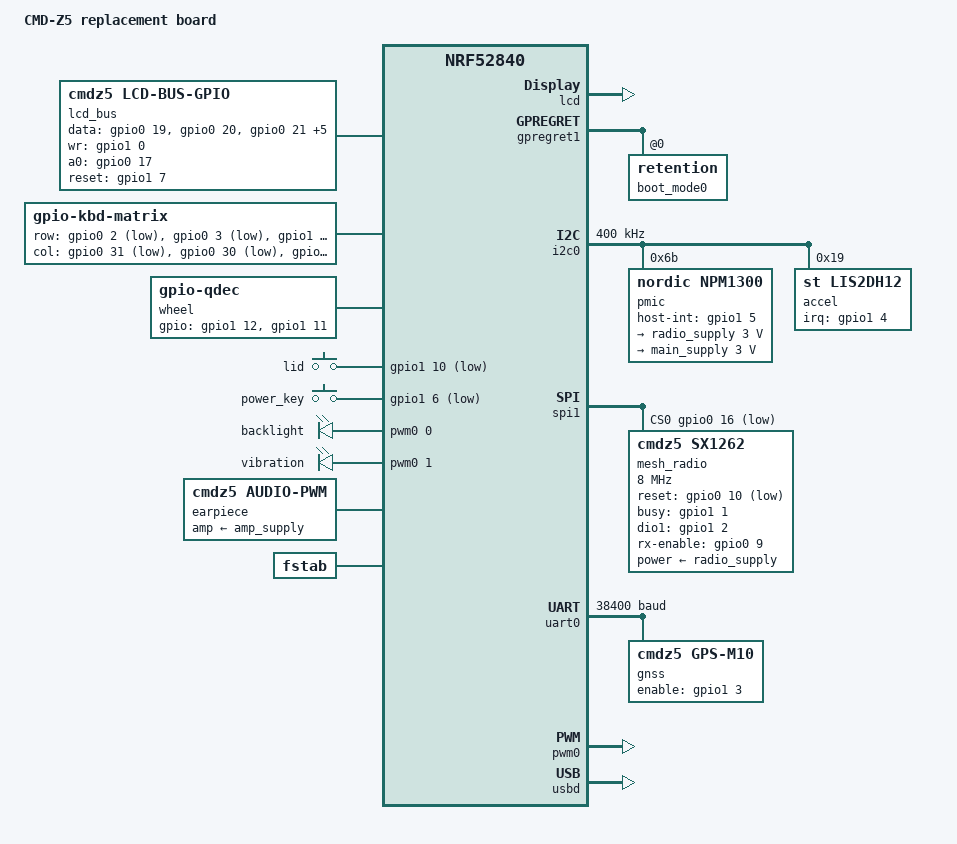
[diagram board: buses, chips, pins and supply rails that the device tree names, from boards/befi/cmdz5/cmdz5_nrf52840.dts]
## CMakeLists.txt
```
cmake_minimum_required(VERSION 3.20.0)

# The cmdz5 board definition lives in boards/befi/cmdz5.
list(APPEND BOARD_ROOT ${CMAKE_CURRENT_SOURCE_DIR})
# Language model image for the flash (merged.hex), see modules/lm_image.
list(APPEND ZEPHYR_EXTRA_MODULES ${CMAKE_CURRENT_SOURCE_DIR}/modules/lm_image)

find_package(Zephyr REQUIRED HINTS $ENV{ZEPHYR_BASE})
project(cmdz5)

zephyr_include_directories(include)

# Git hash and version (git describe) for the About screen, refreshed on every
# build: app_generated/git_version.h.
set(git_version_dir ${CMAKE_CURRENT_BINARY_DIR}/app_generated)
set(git_version_h ${git_version_dir}/git_version.h)
add_custom_target(git_version
  COMMAND ${CMAKE_COMMAND} -DSRC_DIR=${CMAKE_CURRENT_SOURCE_DIR} -DOUT=${git_version_h}
          -P ${CMAKE_CURRENT_SOURCE_DIR}/cmake/git_version.cmake
  BYPRODUCTS ${git_version_h}
  COMMENT "Reading the git version")
add_dependencies(app git_version)
target_include_directories(app PRIVATE ${git_version_dir})

add_subdirectory(lib/gfx)
add_subdirectory(lib/ui)
add_subdirectory(lib/textinput)
add_subdirectory(lib/meshtastic)
add_subdirectory(lib/meshcore)
add_subdirectory(lib/synth)
add_subdirectory(lib/qrcodegen)
add_subdirectory(drivers)
if(CONFIG_CMDZ5_EMUL)
  add_subdirectory(emul)
else()
  target_sources(app PRIVATE src/battery_npm13xx.c)
endif()

target_sources(app PRIVATE
  src/main.c
  src/battery.c
  src/clock.c
  src/config.c
  src/factory.c
  src/gauge.c
  src/gps.c
  src/hw.c
  src/i18n.c
  src/input.c
  src/power.c
  src/statusbar.c
  src/textin.c
  src/update.c
  src/mesh/mesh.c
  src/mesh/meshcore.c
  src/mesh/msglog.c
  src/mesh/msgstore.c
  src/screens/about.c
  src/screens/chat.c
  src/screens/compose.c
  src/screens/diag.c
  src/screens/game.c
  src/screens/witch.c
  src/screens/channels.c
  src/screens/gps.c
  src/screens/home.c
  src/screens/hwtest.c
  src/screens/noise.c
  src/screens/inbox.c
  src/screens/menu.c
  src/screens/nodes.c
  src/screens/poweroff.c
  src/screens/settings.c
)

# Language models for predictive text, built by tools/lmbuild. Boards with an
# lm partition get them through modules/lm_image (merged.hex); the emulator
# links them into the program.
dt_nodelabel(lm_node NODELABEL lm_partition)
if(NOT lm_node)
  set(lm_gen_dir ${ZEPHYR_BINARY_DIR}/include/generated/lm)
  foreach(lang de en)
    generate_inc_file_for_target(app ${CMAKE_CURRENT_SOURCE_DIR}/lm/${lang}.lm
      ${lm_gen_dir}/${lang}.lm.inc)
  endforeach()
endif()
```

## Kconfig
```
# CMD-Z5 firmware

mainmenu "CMD-Z5 firmware"

rsource "drivers/Kconfig"
rsource "emul/Kconfig"

module = CMDZ5_APP
module-str = CMD-Z5 application
source "subsys/logging/Kconfig.template.log_config"

source "Kconfig.zephyr"
```

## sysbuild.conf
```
# Board build (sysbuild): MCUboot plus the application. The emulator is built
# with --no-sysbuild and has no bootloader.
SB_CONFIG_BOOTLOADER_MCUBOOT=y
# One application slot: an update overwrites the application in place, so the
# language models keep their partition (see README, "Updates over USB").
SB_CONFIG_MCUBOOT_MODE_SINGLE_APP=y
SB_CONFIG_BOOT_SIGNATURE_TYPE_ECDSA_P256=y
# Partitions come from the board devicetree.
SB_CONFIG_PARTITION_MANAGER=n
```

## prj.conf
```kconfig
# Common configuration for the board and the emulator.

CONFIG_INPUT=y
# Mesh: device id for the node number, entropy for keys
CONFIG_HWINFO=y
CONFIG_ENTROPY_GENERATOR=y
CONFIG_LED=y
CONFIG_LOG=y

# Settings in the storage partition
CONFIG_FLASH=y
CONFIG_FLASH_MAP=y
CONFIG_NVS=y
CONFIG_SETTINGS=y
CONFIG_SETTINGS_NVS=y

# Messages in LittleFS (lfs partition)
CONFIG_FILE_SYSTEM=y
CONFIG_FILE_SYSTEM_LITTLEFS=y

# Restart (emulator power-on, fallback when the PMIC cannot enter ship mode)
CONFIG_REBOOT=y

CONFIG_MAIN_STACK_SIZE=4096
CONFIG_SYSTEM_WORKQUEUE_STACK_SIZE=2048
```

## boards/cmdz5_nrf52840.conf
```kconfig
# Board-only configuration.

CONFIG_I2C=y
CONFIG_PWM=y
# nPM1300 rails (display, earpiece amplifier, radio)
CONFIG_REGULATOR=y
# nPM1300 charger: enables charging at boot, measures the battery
CONFIG_SENSOR=y
# Floats in the battery readings and telemetry
CONFIG_FPU=y
# Accelerometer: used from the power phase on
CONFIG_LIS2DH=n
# Log and console over USB CDC ACM (zephyr,console), RTT stays as a second
# log backend for the J-Link
CONFIG_USB_DEVICE_STACK_NEXT=y
CONFIG_USBD_CDC_ACM_CLASS=y
CONFIG_CDC_ACM_SERIAL_INITIALIZE_AT_BOOT=y
CONFIG_CDC_ACM_SERIAL_MANUFACTURER_STRING="befi"
CONFIG_CDC_ACM_SERIAL_PRODUCT_STRING="CMD-Z5"
CONFIG_USBD_LOG_LEVEL_WRN=y
CONFIG_UDC_DRIVER_LOG_LEVEL_WRN=y
# Must stay off: the CDC ACM class carries the log itself
CONFIG_USBD_CDC_ACM_LOG_LEVEL_OFF=y
CONFIG_SERIAL=y
CONFIG_UART_LINE_CTRL=y
CONFIG_CONSOLE=y
CONFIG_UART_CONSOLE=y
CONFIG_RTT_CONSOLE=n
CONFIG_LOG_BACKEND_UART=y
CONFIG_LOG_BACKEND_RTT=y
# Boot mode for MCUboot (src/update.c): restart into USB serial recovery
CONFIG_RETAINED_MEM=y
CONFIG_RETENTION=y
CONFIG_RETENTION_BOOT_MODE=y
# GPS: u-blox M10 on UART0 (drivers/gnss/gps_m10.c), switched through device
# PM. The GNSS subsystem is marked experimental; that is known.
CONFIG_GNSS=y
CONFIG_WARN_EXPERIMENTAL=n
# Satellites in view with their signal strength (GSV), for the GPS screen.
CONFIG_GNSS_SATELLITES=y
```

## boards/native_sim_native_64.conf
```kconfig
# Emulator-only configuration.

# Power-on after "switch off" restarts the executable.
CONFIG_NATIVE_SIM_REBOOT=y

# GPS: Zephyr's GNSS emulator, switched on and off through device PM. The
# GNSS subsystem is marked experimental; that is known, no notice needed.
CONFIG_GNSS=y
CONFIG_WARN_EXPERIMENTAL=n
CONFIG_GNSS_EMUL_MANUAL_UPDATE=y
CONFIG_PM_DEVICE=y
```

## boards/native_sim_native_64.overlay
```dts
/*
 * Emulator: the same node labels as the board (lcd, backlight, vibration,
 * speaker, earpiece), backed by the SDL front panel in emul/.
 */

/* Zephyr's own SDL display and touch input are not used. */
&sdl_dc {
	status = "disabled";
};

&input_sdl_touch {
	status = "disabled";
};

/* The same lfs partition size as on the board, in place of an unused one. */
/delete-node/ &scratch_partition;

&flash0 {
	partitions {
		lfs_partition: partition@de000 {
			label = "lfs";
			reg = <0x000de000 0x00018000>;
		};
	};
};

/ {
	frontpanel: frontpanel {
		compatible = "cmdz5,frontpanel";
		scale = <5>;
	};

	lcd_bus: lcd-bus {
		compatible = "cmdz5,lcd-bus-emul";

		lcd: lcd {
			compatible = "sony,cmdz5-lcd";
		};
	};

	emul-outputs {
		compatible = "cmdz5,led-emul";

		backlight: backlight {
			role = "backlight";
		};

		vibration: vibration {
			role = "vibration";
		};
	};

	speaker: speaker {
		compatible = "cmdz5,audio-emul";
		sink = "speaker";
	};

	earpiece: earpiece {
		compatible = "cmdz5,audio-emul";
		sink = "earpiece";
	};

	mesh_radio: mesh-radio {
		compatible = "cmdz5,radio-emul";
	};

	/* Zephyr's GNSS emulator, fed by emul/gps_sim.c (--gps, --gps-move). */
	gnss: gnss {
		compatible = "zephyr,gnss-emul";
	};

	/* Messages (and later more): LittleFS in the lfs partition. */
	fstab {
		compatible = "zephyr,fstab";

		lfs: lfs {
			compatible = "zephyr,fstab,littlefs";
			mount-point = "/lfs";
			partition = <&lfs_partition>;
			automount;
			read-size = <16>;
			prog-size = <16>;
			cache-size = <64>;
			lookahead-size = <32>;
			block-cycles = <512>;
		};
	};
};
```

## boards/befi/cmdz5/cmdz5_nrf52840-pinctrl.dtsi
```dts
/*
 * Pin assignment, see the GPIO table in ../../../../board/README.md.
 */

&pinctrl {
	i2c0_default: i2c0_default {
		group1 {
			psels = <NRF_PSEL(TWIM_SDA, 1, 8)>,
				<NRF_PSEL(TWIM_SCL, 1, 9)>;
		};
	};

	i2c0_sleep: i2c0_sleep {
		group1 {
			psels = <NRF_PSEL(TWIM_SDA, 1, 8)>,
				<NRF_PSEL(TWIM_SCL, 1, 9)>;
			low-power-enable;
		};
	};

	spi1_default: spi1_default {
		group1 {
			psels = <NRF_PSEL(SPIM_SCK, 0, 13)>,
				<NRF_PSEL(SPIM_MOSI, 0, 14)>,
				<NRF_PSEL(SPIM_MISO, 0, 15)>;
		};
	};

	spi1_sleep: spi1_sleep {
		group1 {
			psels = <NRF_PSEL(SPIM_SCK, 0, 13)>,
				<NRF_PSEL(SPIM_MOSI, 0, 14)>,
				<NRF_PSEL(SPIM_MISO, 0, 15)>;
			low-power-enable;
		};
	};

	uart0_default: uart0_default {
		group1 {
			psels = <NRF_PSEL(UART_TX, 0, 12)>;
		};
		group2 {
			psels = <NRF_PSEL(UART_RX, 0, 11)>;
		};
	};

	uart0_sleep: uart0_sleep {
		group1 {
			psels = <NRF_PSEL(UART_TX, 0, 12)>,
				<NRF_PSEL(UART_RX, 0, 11)>;
			low-power-enable;
		};
	};

	/* Backlight LEDs (channel 0) and vibration motor (channel 1). */
	pwm0_default: pwm0_default {
		group1 {
			psels = <NRF_PSEL(PWM_OUT0, 0, 8)>,
				<NRF_PSEL(PWM_OUT1, 0, 7)>;
		};
	};

	pwm0_sleep: pwm0_sleep {
		group1 {
			psels = <NRF_PSEL(PWM_OUT0, 0, 8)>,
				<NRF_PSEL(PWM_OUT1, 0, 7)>;
			low-power-enable;
		};
	};

	/* Loudspeaker. */
	pwm1_default: pwm1_default {
		group1 {
			psels = <NRF_PSEL(PWM_OUT0, 0, 27)>;
		};
	};

	pwm1_sleep: pwm1_sleep {
		group1 {
			psels = <NRF_PSEL(PWM_OUT0, 0, 27)>;
			low-power-enable;
		};
	};

	/* Earpiece (RC filter into the PAM8302). */
	pwm2_default: pwm2_default {
		group1 {
			psels = <NRF_PSEL(PWM_OUT0, 0, 6)>;
		};
	};

	pwm2_sleep: pwm2_sleep {
		group1 {
			psels = <NRF_PSEL(PWM_OUT0, 0, 6)>;
			low-power-enable;
		};
	};
};
```

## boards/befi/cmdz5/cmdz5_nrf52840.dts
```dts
/*
 * CMD-Z5 replacement board: nRF52840, Wio-SX1262, nPM1300, LIS2DH12,
 * TBS M10N GPS, original Sony CMD-Z5 display, keypad, wheel, speakers.
 * Hardware description: ../../../../board/README.md
 */

/dts-v1/;
#include <nordic/nrf52840_qiaa.dtsi>
#include <zephyr/dt-bindings/input/input-event-codes.h>
#include <zephyr/dt-bindings/input/keymap.h>
#include <zephyr/dt-bindings/lora/sx126x.h>
#include <zephyr/dt-bindings/regulator/npm13xx.h>
#include <dt-bindings/cmdz5/keys.h>
#include "cmdz5_nrf52840-pinctrl.dtsi"

/ {
	model = "CMD-Z5 replacement board";
	compatible = "befi,cmdz5";

	chosen {
		zephyr,sram = &sram0;
		zephyr,flash = &flash0;
		zephyr,code-partition = &slot0_partition;
		zephyr,console = &cdc_acm_uart0;
		zephyr,boot-mode = &boot_mode0;
	};

	aliases {
		/* MCUboot: power key held at switch-on enters USB serial recovery. */
		mcuboot-button0 = &power_key;
	};

	/*
	 * Display bus: D0..D7 on consecutive pins P0.19..P0.26 for single
	 * masked port writes. /CS, CS and pin 9 are tied on the board.
	 */
	lcd_bus: lcd-bus {
		compatible = "cmdz5,lcd-bus-gpio";
		data-gpios = <&gpio0 19 0>, <&gpio0 20 0>, <&gpio0 21 0>, <&gpio0 22 0>,
			     <&gpio0 23 0>, <&gpio0 24 0>, <&gpio0 25 0>, <&gpio0 26 0>;
		wr-gpios = <&gpio1 0 0>;
		a0-gpios = <&gpio0 17 0>;
		reset-gpios = <&gpio1 7 0>;

		lcd: lcd {
			compatible = "sony,cmdz5-lcd";
			power-supply = <&lcd_supply>;
		};
	};

	/* 4 x 5 matrix; columns driven low one at a time, rows read with pull-ups. */
	kbd: kbd-matrix {
		compatible = "gpio-kbd-matrix";
		row-gpios = <&gpio0 2 (GPIO_PULL_UP | GPIO_ACTIVE_LOW)>,
			    <&gpio0 3 (GPIO_PULL_UP | GPIO_ACTIVE_LOW)>,
			    <&gpio1 15 (GPIO_PULL_UP | GPIO_ACTIVE_LOW)>,
			    <&gpio1 14 (GPIO_PULL_UP | GPIO_ACTIVE_LOW)>,
			    <&gpio1 13 (GPIO_PULL_UP | GPIO_ACTIVE_LOW)>;
		col-gpios = <&gpio0 31 GPIO_ACTIVE_LOW>,
			    <&gpio0 30 GPIO_ACTIVE_LOW>,
			    <&gpio0 29 GPIO_ACTIVE_LOW>,
			    <&gpio0 28 GPIO_ACTIVE_LOW>;

		keymap {
			compatible = "input-keymap";
			keymap = <MATRIX_KEY(0, 0, INPUT_KEY_1)
				  MATRIX_KEY(0, 1, INPUT_KEY_2)
				  MATRIX_KEY(0, 2, INPUT_KEY_3)
				  MATRIX_KEY(0, 3, CMDZ5_KEY_CALL)
				  MATRIX_KEY(1, 0, INPUT_KEY_4)
				  MATRIX_KEY(1, 1, INPUT_KEY_5)
				  MATRIX_KEY(1, 2, INPUT_KEY_6)
				  MATRIX_KEY(1, 3, CMDZ5_KEY_MEMO)
				  MATRIX_KEY(2, 0, INPUT_KEY_7)
				  MATRIX_KEY(2, 1, INPUT_KEY_8)
				  MATRIX_KEY(2, 2, INPUT_KEY_9)
				  MATRIX_KEY(2, 3, INPUT_KEY_BACKSPACE)
				  MATRIX_KEY(3, 0, CMDZ5_KEY_STAR)
				  MATRIX_KEY(3, 1, INPUT_KEY_0)
				  MATRIX_KEY(3, 2, CMDZ5_KEY_POUND)
				  MATRIX_KEY(4, 0, INPUT_KEY_PAGEDOWN)
				  MATRIX_KEY(4, 1, INPUT_KEY_PAGEUP)
				  MATRIX_KEY(4, 2, INPUT_KEY_ENTER)>;
			row-size = <5>;
			col-size = <4>;
		};
	};

	/* Rotary wheel; the direction may need swapping once tested. */
	wheel: wheel {
		compatible = "gpio-qdec";
		gpios = <&gpio1 12 (GPIO_PULL_UP | GPIO_ACTIVE_HIGH)>,
			<&gpio1 11 (GPIO_PULL_UP | GPIO_ACTIVE_HIGH)>;
		steps-per-period = <4>;
		zephyr,axis = <INPUT_REL_WHEEL>;
		sample-time-us = <2000>;
		idle-timeout-ms = <200>;
	};

	buttons {
		compatible = "gpio-keys";

		/* 4.7-10 MOhm external pull-up: no internal pull-up (it would draw ~230 uA). */
		lid {
			gpios = <&gpio1 10 GPIO_ACTIVE_LOW>;
			zephyr,code = <CMDZ5_KEY_LID>;
		};

		/* Shared with nPM1300 SHPHLD through a BAT54C. */
		power_key: power {
			gpios = <&gpio1 6 (GPIO_PULL_UP | GPIO_ACTIVE_LOW)>;
			zephyr,code = <INPUT_KEY_POWER>;
		};
	};

	pwmleds {
		compatible = "pwm-leds";

		/* Board LEDs and keyboard flex LEDs on one low-side switch. */
		backlight: backlight {
			pwms = <&pwm0 0 PWM_USEC(50) PWM_POLARITY_NORMAL>;
		};

		vibration: vibration {
			pwms = <&pwm0 1 PWM_USEC(50) PWM_POLARITY_NORMAL>;
		};
	};

	/* PCM through PWM1/PWM2 with EasyDMA (drivers/audio/audio_pwm.c). */
	speaker: speaker {
		compatible = "cmdz5,audio-pwm";
		pwm-peripheral = <&pwm1>;
		dc-coupled;
	};

	earpiece: earpiece {
		compatible = "cmdz5,audio-pwm";
		pwm-peripheral = <&pwm2>;
		amp-supply = <&amp_supply>;
	};

	/* Messages (and later more): LittleFS in the lfs partition. */
	fstab {
		compatible = "zephyr,fstab";

		lfs: lfs {
			compatible = "zephyr,fstab,littlefs";
			mount-point = "/lfs";
			partition = <&lfs_partition>;
			automount;
			read-size = <16>;
			prog-size = <16>;
			cache-size = <64>;
			lookahead-size = <32>;
			block-cycles = <512>;
		};
	};
};

/*
 * REG1 in LDO mode: with its DC/DC (DCC -> 10 uH -> 15 nH -> DEC4) the
 * radio's noise floor was 4 dB higher (Hardware test > Radio noise, which
 * can still switch it on). On the first board the chip also locked up a few
 * milliseconds after switching to DC/DC until L3 was replaced.
 */
&reg1 {
	regulator-initial-mode = <NRF5X_REG_MODE_LDO>;
};

&uicr {
	/* P0.09/P0.10 drive the SX1262 RF switch and reset. */
	nfct-pins-as-gpios;
	gpio-as-nreset;
};

/*
 * Boot mode in GPREGRET1, kept across a reset: the application sets it to
 * ask MCUboot to stay in USB serial recovery (src/update.c).
 */
&gpregret1 {
	status = "okay";

	boot_mode0: boot_mode@0 {
		compatible = "zephyr,retention";
		status = "okay";
		reg = <0x0 0x1>;
	};
};

&gpiote {
	status = "okay";
};

/*
 * GPIOTE has only 8 channels. Keypad rows, lid and power key use the port
 * SENSE mechanism instead; wheel, nPM1300 and LIS2DH12 interrupts and
 * SX1262 DIO1 keep a GPIOTE channel each.
 */
&gpio0 {
	status = "okay";
	sense-edge-mask = <(BIT(2) | BIT(3))>;		/* keypad rows 0, 1 */
};

&gpio1 {
	status = "okay";
	sense-edge-mask = <(BIT(6) | BIT(10) |		/* power key, lid */
			    BIT(13) | BIT(14) | BIT(15))>;	/* keypad rows 4, 3, 2 */
};

&i2c0 {
	compatible = "nordic,nrf-twim";
	status = "okay";
	clock-frequency = <I2C_BITRATE_FAST>;
	pinctrl-0 = <&i2c0_default>;
	pinctrl-1 = <&i2c0_sleep>;
	pinctrl-names = "default", "sleep";

	pmic: pmic@6b {
		compatible = "nordic,npm1300";
		reg = <0x6b>;
		host-int-gpios = <&gpio1 5 0>;
		pmic-int-pin = <0>;
		/* Power key on SHPHLD: hold about 1 s to switch on from ship mode. */
		ship-to-active-time-ms = <1008>;

		/* GPIO0 = interrupt to the nRF, GPIO1 = microphone supply. */
		pmic_gpio: gpio-controller {
			compatible = "nordic,npm1300-gpio";
			gpio-controller;
			#gpio-cells = <2>;
			ngpios = <5>;
		};

		regulators {
			compatible = "nordic,npm1300-regulator";

			/* Wio-SX1262, off at boot (VSET1 grounded). */
			radio_supply: BUCK1 {
				regulator-min-microvolt = <3000000>;
				regulator-max-microvolt = <3000000>;
			};

			/* Main 3.0 V rail (nRF52840, LIS2DH12), set by VSET2. */
			main_supply: BUCK2 {
				regulator-min-microvolt = <3000000>;
				regulator-max-microvolt = <3000000>;
				regulator-boot-on;
				regulator-always-on;
			};

			/* LSOUT1: display supply. */
			lcd_supply: LDO1 {
				regulator-initial-mode = <NPM13XX_LDSW_MODE_LDSW>;
			};

			/* LSOUT2: earpiece amplifier supply. */
			amp_supply: LDO2 {
				regulator-initial-mode = <NPM13XX_LDSW_MODE_LDSW>;
			};
		};

		/* The battery has no thermistor contact; NTC is tied to GND. */
		charger: charger {
			compatible = "nordic,npm1300-charger";
			term-microvolt = <4200000>;
			/* 603450 LiPo, 1250 mAh, 4.2 V; ~0.33 C (src/gauge.h). */
			current-microamp = <400000>;
			dischg-limit-microamp = <1000000>;
			vbus-limit-microamp = <500000>;
			thermistor-ohms = <0>;
			thermistor-beta = <3380>;
			charging-enable;
		};
	};

	accel: accel@19 {
		compatible = "st,lis2dh12", "st,lis2dh";
		reg = <0x19>;
		irq-gpios = <&gpio1 4 GPIO_ACTIVE_HIGH>;
	};
};

&spi1 {
	compatible = "nordic,nrf-spim";
	status = "okay";
	cs-gpios = <&gpio0 16 GPIO_ACTIVE_LOW>;
	pinctrl-0 = <&spi1_default>;
	pinctrl-1 = <&spi1_sleep>;
	pinctrl-names = "default", "sleep";

	/*
	 * Wio-SX1262 as the mesh radio (drivers/radio/sx1262_mesh.c; Zephyr's
	 * semtech,sx1262 driver cannot set the Meshtastic sync word). Powered
	 * from BUCK1, which the driver switches on.
	 */
	mesh_radio: lora0: lora@0 {
		compatible = "cmdz5,sx1262";
		reg = <0>;
		power-supply = <&radio_supply>;
		spi-max-frequency = <8000000>;
		reset-gpios = <&gpio0 10 GPIO_ACTIVE_LOW>;
		busy-gpios = <&gpio1 1 GPIO_ACTIVE_HIGH>;
		dio1-gpios = <&gpio1 2 GPIO_ACTIVE_HIGH>;
		rx-enable-gpios = <&gpio0 9 GPIO_ACTIVE_HIGH>;
		dio2-tx-enable;
		dio3-tcxo-voltage = <SX126X_DIO3_TCXO_1V8>;
		tcxo-power-startup-delay-ms = <5>;
	};
};

/*
 * GPS UART: TBS M10N (u-blox M10, factory settings: NMEA at 38400 baud),
 * powered through the 5 V boost on P1.03. The driver (drivers/gnss/gps_m10.c)
 * switches the boost and the UART together; while the receiver is off the
 * UART pins are in their sleep state, so an idle-high TX line cannot
 * back-power it.
 */
&uart0 {
	compatible = "nordic,nrf-uarte";
	status = "okay";
	current-speed = <38400>;
	pinctrl-0 = <&uart0_default>;
	pinctrl-1 = <&uart0_sleep>;
	pinctrl-names = "default", "sleep";

	gnss: gnss {
		compatible = "cmdz5,gps-m10";
		enable-gpios = <&gpio1 3 GPIO_ACTIVE_HIGH>;
	};
};

&pwm0 {
	status = "okay";
	pinctrl-0 = <&pwm0_default>;
	pinctrl-1 = <&pwm0_sleep>;
	pinctrl-names = "default", "sleep";
};

/* PWM1 and PWM2 belong to the audio driver, not to Zephyr's PWM driver. */
&pwm1 {
	status = "disabled";
	pinctrl-0 = <&pwm1_default>;
	pinctrl-1 = <&pwm1_sleep>;
	pinctrl-names = "default", "sleep";
};

&pwm2 {
	status = "disabled";
	pinctrl-0 = <&pwm2_default>;
	pinctrl-1 = <&pwm2_sleep>;
	pinctrl-names = "default", "sleep";
};

zephyr_udc0: &usbd {
	status = "okay";

	/*
	 * Log and console over USB (/dev/ttyACM0). The TX FIFO keeps the boot
	 * messages until the host opens the port; when it is full, newer
	 * output is dropped.
	 */
	cdc_acm_uart0: cdc_acm_uart0 {
		compatible = "zephyr,cdc-acm-uart";
		tx-fifo-size = <8192>;
	};
};

/*
 * Flash layout (1 MB). MCUboot with a single application slot: an update
 * over USB overwrites the application in place (see README, "Updates over
 * USB"). The language models, settings and LittleFS are not touched.
 */
&flash0 {
	partitions {
		ranges;
		#address-cells = <1>;
		#size-cells = <1>;

		boot_partition: partition@0 {
			compatible = "zephyr,mapped-partition";
			label = "mcuboot";
			reg = <0x00000000 0x00010000>;
		};

		slot0_partition: partition@10000 {
			compatible = "zephyr,mapped-partition";
			label = "image-0";
			reg = <0x00010000 0x00078000>;
		};

		/* Predictive text language models (read-only, updated separately). */
		lm_partition: partition@88000 {
			compatible = "zephyr,mapped-partition";
			label = "lm";
			reg = <0x00088000 0x00058000>;
		};

		/* Settings. */
		storage_partition: partition@e0000 {
			compatible = "zephyr,mapped-partition";
			label = "storage";
			reg = <0x000e0000 0x00008000>;
		};

		/* LittleFS: messages, node database, user dictionary. */
		lfs_partition: partition@e8000 {
			compatible = "zephyr,mapped-partition";
			label = "lfs";
			reg = <0x000e8000 0x00018000>;
		};
	};
};
```

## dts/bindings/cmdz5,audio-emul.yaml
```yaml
description: Emulated audio output, played through the PC's sound card.

compatible: "cmdz5,audio-emul"

include: base.yaml

properties:
  sink:
    type: string
    required: true
    enum:
      - "speaker"
      - "earpiece"
```

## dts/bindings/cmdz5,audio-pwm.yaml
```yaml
description: |
  PCM output on an nRF PWM instance used as an 8-bit DAC with EasyDMA
  (loudspeaker or earpiece). The driver uses the PWM peripheral directly, so
  its node must be disabled for Zephyr's PWM driver; its pinctrl states are
  used for the output pin.

compatible: "cmdz5,audio-pwm"

include: base.yaml

properties:
  pwm-peripheral:
    type: phandle
    required: true
    description: PWM instance (status "disabled", with pinctrl default/sleep states).

  dc-coupled:
    type: boolean
    description: |
      The load sees the duty cycle directly (loudspeaker on a low-side switch).
      The offset then follows the signal peak, so silence draws no current.
      Without it, the output idles at mid-level (AC-coupled amplifier input).

  amp-supply:
    type: phandle
    description: Regulator for an amplifier, switched on only while playing.
```

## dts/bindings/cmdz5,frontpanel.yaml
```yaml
description: |
  SDL2 front panel of the native_sim emulator. Reports the phone keys, the
  rotary wheel and the lid switch as input events.

compatible: "cmdz5,frontpanel"

include: base.yaml

properties:
  scale:
    type: int
    default: 5
    description: Display scaling factor in the emulator window.
```

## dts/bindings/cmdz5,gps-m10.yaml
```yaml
description: |
  u-blox M10 GPS receiver (TBS M10N) on a UART with a switched supply.
  Reads NMEA (GGA, RMC, GSV) at the receiver's factory settings. Device
  power management switches the supply and the UART together, so the UART
  lines never drive the unpowered receiver.

compatible: "cmdz5,gps-m10"

include: uart-device.yaml

properties:
  enable-gpios:
    type: phandle-array
    required: true
    description: Supply enable (TPS610997 5 V boost EN).

  startup-delay-ms:
    type: int
    default: 5
    description: Time from supply on until the UART is opened.
```

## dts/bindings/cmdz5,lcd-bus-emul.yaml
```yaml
description: |
  Emulated display bus for native_sim. Feeds the written bytes into a model of
  the display controller and shows the result on the emulator front panel.

compatible: "cmdz5,lcd-bus-emul"

include: base.yaml
```

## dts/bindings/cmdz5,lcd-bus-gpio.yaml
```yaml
description: |
  8080-style write-only parallel display bus, bit-banged on GPIOs.
  Levels are driven raw; the GPIO flags are ignored.

compatible: "cmdz5,lcd-bus-gpio"

include: base.yaml

properties:
  data-gpios:
    type: phandle-array
    required: true
    description: D0..D7, in this order. Consecutive pins on one port are fastest.

  wr-gpios:
    type: phandle-array
    required: true
    description: /WR strobe (active low, data latched on the rising edge).

  a0-gpios:
    type: phandle-array
    required: true
    description: A0 register select (low = index, high = data).

  reset-gpios:
    type: phandle-array
    required: true
    description: /RESET (active low).
```

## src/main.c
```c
/*
 * CMD-Z5 firmware: UI thread and event loop.
 *
 * All UI state is owned by this thread. Other threads (input, later the radio
 * services) pass events through app_post().
 */

#include <stdio.h>

#include <zephyr/kernel.h>
#include <zephyr/logging/log.h>
#include <zephyr/logging/log_ctrl.h>
#include <zephyr/sys/reboot.h>

#include "app.h"
#include "battery.h"
#include "clock.h"
#include "config.h"
#include "gps.h"
#include "hw.h"
#include "i18n.h"
#include "mesh/mesh.h"
#include "mesh/msgstore.h"
#include "meshtastic/packet.h"
#include "textin.h"
#include "power.h"
#include "screens/screens.h"
#include "update.h"

LOG_MODULE_REGISTER(app, CONFIG_CMDZ5_APP_LOG_LEVEL);

#define POLL_MS 200

static int poll_ms = POLL_MS;

K_MSGQ_DEFINE(ui_queue, sizeof(struct ui_event), 32, 4);

static struct gfx gfx;

/* Startup: the first 7 notes of the Super Mario Bros. theme (E E - E - C E - G - - - G). */
#define SMB_16TH 110 /* ms */
static const struct hw_note startup_tune[] = {
	{1319, SMB_16TH},     {1319, SMB_16TH}, {0, SMB_16TH},     {1319, SMB_16TH},
	{0, SMB_16TH},        {1047, SMB_16TH}, {1319, 2 * SMB_16TH}, {1568, 2 * SMB_16TH},
	{0, 2 * SMB_16TH},    {784, 2 * SMB_16TH},
};

void app_post(const struct ui_event *ev)
{
	if (k_msgq_put(&ui_queue, ev, K_NO_WAIT) != 0) {
		LOG_WRN("UI queue full, event dropped");
	}
}

void app_set_frame_ms(int ms)
{
	poll_ms = ms > 0 ? ms : POLL_MS;
}

static void tick(struct k_timer *timer)
{
	struct ui_event ev = {.type = UI_EV_TICK};

	ARG_UNUSED(timer);
	app_post(&ev);
}

K_TIMER_DEFINE(tick_timer, tick, NULL);

/* Switching off: C major arpeggio from top to bottom (C6 G5 E5 C5). */
static const struct hw_note goodbye_tune[] = {
	{1047, 110}, {784, 110}, {659, 110}, {523, 300},
};
#define GOODBYE_MS (110 + 110 + 110 + 300)

static void render(void)
{
	if (power_display_on() && ui_needs_render()) {
		ui_render(&gfx);
		hw_display_flush(&gfx);
	}
}

/* Empty battery: the message stays this long, to be read. */
#define EMPTY_MS 3000

static FUNC_NORETURN void switch_off(bool empty)
{
	LOG_INF("switching off%s", empty ? ": battery empty" : "");
	k_timer_stop(&tick_timer);
	if (empty) {
		power_user_activity(false);
		poweroff_empty();
	} else {
		poweroff_goodbye();
	}
	render();
	hw_melody(HW_SPEAKER, goodbye_tune, ARRAY_SIZE(goodbye_tune), app_config.volume);
	battery_save();
	/* Let the arpeggio finish (and its last note fade out). */
	k_msleep(empty ? EMPTY_MS : GOODBYE_MS + 200);
	hw_power_off();
}

/* Key whose press only woke the display; its long/release events are dropped too. */
static enum ui_key swallowed = UI_KEY_NONE;
/* The current power key press only woke the display. */
static bool power_woke;

/* Key click and wheel tick (Settings -> Sound -> Key clicks). */
static void click(const struct ui_event *ev)
{
	if (!app_config.key_click) {
		return;
	}
	if (ev->type == UI_EV_KEY_PRESS) {
		hw_tone(HW_SPEAKER, 2500, 6, app_config.volume / 4);
	} else if (ev->type == UI_EV_WHEEL) {
		/* Subtler than a key: shorter, higher and quieter. */
		hw_tone(HW_SPEAKER, 4000, 3, app_config.volume / 5);
	}
}

/* Keys under the lid, as opposed to the side controls (wheel, power key). */
static bool is_keypad(const struct ui_event *ev)
{
	return ev->type != UI_EV_WHEEL && ev->key != UI_KEY_SELECT && ev->key != UI_KEY_BACK &&
	       ev->key != UI_KEY_DOWN && ev->key != UI_KEY_POWER;
}

static bool is_user_input(const struct ui_event *ev)
{
	return ev->type == UI_EV_KEY_PRESS || ev->type == UI_EV_KEY_LONG ||
	       ev->type == UI_EV_KEY_RELEASE || ev->type == UI_EV_WHEEL;
}

#define TOAST_MS 8000

static int64_t toast_until;

static void open_conversation(void *arg)
{
	chat_open((uint32_t)(uintptr_t)arg);
}

/* New message: a pop-up, unless the home screen or that chat shows it anyway. */
static void show_message_toast(void)
{
	static struct msg m;
	char who[24], title[40];
	const char *text;
	bool have = false;

	msgstore_lock();
	if (msgstore_newest_unread()) {
		m = *msgstore_newest_unread();
		have = true;
	}
	msgstore_unlock();
	if (!have || ui_top() == &home_screen || chat_showing(m.conv)) {
		return;
	}
	text = mesh_msg_text(&m, who, sizeof(who));
	if (conv_channel(m.conv) >= 0) {
		char chan[16];

		mesh_conv_name(m.conv, chan, sizeof(chan));
		snprintf(title, sizeof(title), "%s %s", who, chan);
	} else {
		snprintf(title, sizeof(title), "%s", who);
	}
	ui_toast(title, text, open_conversation, (void *)(uintptr_t)m.conv);
	toast_until = k_uptime_get() + TOAST_MS;
}

/* The new message is in a silenced conversation. */
static bool newest_muted(void)
{
	uint32_t conv = 0;

	msgstore_lock();
	if (msgstore_newest_unread()) {
		conv = msgstore_newest_unread()->conv;
	}
	msgstore_unlock();
	return conv && mesh_muted(conv);
}

static const struct hw_note message_tune[] = {
	{1568, 80}, {2093, 120},
};

/* A sent message failed: two low, falling tones. */
static const struct hw_note failed_tune[] = {
	{392, 150}, {0, 60}, {294, 350},
};

static void handle(const struct ui_event *ev)
{
	if (ev->type == APP_EV_LID) {
		power_lid(ev->value);
		return;
	}
	if (ev->type == APP_EV_MESH) {
		if (ev->value == MESH_EV_MESSAGE && newest_muted()) {
			/* Silenced conversation: only the unread count. */
		} else if (ev->value == MESH_EV_MESSAGE) {
			power_user_activity(false);
			hw_melody(HW_SPEAKER, message_tune, ARRAY_SIZE(message_tune),
				  app_config.volume);
			if (app_config.vibrate) {
				hw_vibrate(300);
			}
			show_message_toast();
		} else if (ev->value == MESH_EV_FAILED) {
			hw_melody(HW_SPEAKER, failed_tune, ARRAY_SIZE(failed_tune),
				  app_config.volume);
			if (app_config.vibrate) {
				hw_vibrate(300);
			}
		}
		ui_invalidate();
		return;
	}
	if (ev->type == UI_EV_TICK) {
		struct battery_status b;

		battery_get(&b);
		if (b.empty) {
			switch_off(true);
		}
		if (power_display_on()) {
			ui_dispatch(ev);
		}
		return;
	}
	if (!is_user_input(ev)) {
		return;
	}

	if (ev->type != UI_EV_KEY_PRESS && ev->type != UI_EV_WHEEL && ev->key == swallowed) {
		if (ev->type == UI_EV_KEY_RELEASE) {
			swallowed = UI_KEY_NONE;
		}
		return;
	}

	if (ev->key == UI_KEY_POWER) {
		if (ev->type == UI_EV_KEY_PRESS) {
			/* Like any key: a press that only wakes the display does nothing else. */
			power_woke = power_user_activity(false);
			if (!power_woke) {
				click(ev);
			}
		} else if (ui_ev_short(ev, UI_KEY_POWER)) {
			if (!power_woke) {
				ui_home();
			}
		} else if (ui_ev_long(ev, UI_KEY_POWER)) {
			power_user_activity(false);
			poweroff_show();
		} else if (ev->type == UI_EV_KEY_RELEASE) {
			/* Released after a long press. */
			switch_off(false);
		}
		return;
	}

	if (power_user_activity(is_keypad(ev))) {
		if (ev->type == UI_EV_KEY_PRESS) {
			swallowed = ev->key;
		}
		return;
	}

	click(ev);
	ui_dispatch(ev);
}

/*
 * Switched off while on USB power: the PMIC cannot stay in ship mode, so the
 * device only looks off. Display, mesh and GPS stay off, the battery charges.
 * Holding the power key switches on (a restart); removing USB enters ship
 * mode.
 */
static FUNC_NORETURN void stay_off(void)
{
	struct ui_event ev;

	LOG_INF("off (USB power): hold the power key to switch on");
	hw_display_power(false);
	hw_backlight(0);
	for (;;) {
		if (k_msgq_get(&ui_queue, &ev, K_MSEC(500)) == 0 && ui_ev_long(&ev, UI_KEY_POWER)) {
			LOG_INF("switching on");
			log_flush();
			sys_reboot(SYS_REBOOT_COLD);
		}
		if (!hw_usb_power()) {
			hw_power_off();
		}
	}
}

int main(void)
{
	struct ui_event ev;

	LOG_INF("CMD-Z5 firmware %s", APP_VERSION);

	if (hw_init() != 0) {
		LOG_ERR("hardware init failed");
		return 0;
	}
	if (hw_boot_off()) {
		stay_off();
	}
	config_init();
	hw_display_contrast(app_config.contrast);
	i18n_set(app_config.language);
	if (textin_init() != 0) {
		LOG_ERR("predictive text not available");
	}
	mesh_init();
	gps_init();
	update_init();
	battery_init();
	clock_init();
	gfx_init(&gfx);
	ui_init(statusbar_draw);
	ui_set_translator(tr);
	ui_set_root(&home_screen);
	power_init();

	hw_melody(HW_SPEAKER, startup_tune, ARRAY_SIZE(startup_tune), app_config.volume);
	k_timer_start(&tick_timer, K_SECONDS(1), K_SECONDS(1));

	for (;;) {
		if (k_msgq_get(&ui_queue, &ev, K_MSEC(poll_ms)) == 0) {
			handle(&ev);
			/* Drain queued events before drawing, so the wheel stays responsive. */
			while (k_msgq_get(&ui_queue, &ev, K_NO_WAIT) == 0) {
				handle(&ev);
			}
		}
		power_update();
		if (toast_until && k_uptime_get() >= toast_until) {
			toast_until = 0;
			ui_toast_hide();
		}
		ui_poll();
		render();
	}
	return 0;
}
```

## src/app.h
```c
/*
 * Application-wide definitions: the UI event queue and app-level events.
 */

#pragma once

#include "ui/ui.h"

/* Event types handled by the main loop itself, outside the UI's range. */
enum app_event_type {
	APP_EV_LID = 0x40,  /* value 1 = lid closed */
	APP_EV_MESH = 0x41, /* value: enum mesh_event */
};

/* Queue an event for the UI thread. Safe to call from any thread. */
void app_post(const struct ui_event *ev);

/*
 * How often the main loop runs the poll hook and redraws when no events
 * arrive, in ms (0 = the default of 200 ms). Games set their frame time.
 */
void app_set_frame_ms(int ms);

/* Firmware version shown in the About screen. */
#define APP_VERSION "0.1.0"
```

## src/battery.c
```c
#include <stdlib.h>
#include <string.h>

#include <zephyr/kernel.h>
#include <zephyr/logging/log.h>

#include "battery.h"
#include "battery_backend.h"

LOG_MODULE_REGISTER(battery, CONFIG_CMDZ5_APP_LOG_LEVEL);

#define SAMPLE_MS 1000
/* Store the fuel gauge state now and then, so a reset loses little. */
/* Store the fuel gauge state after this much change, at most every SAVE_MIN_S. */
#define SAVE_SOC_STEP   2
#define SAVE_MIN_S      (10 * 60)
#define SAVE_INTERVAL_S (6 * 3600)
#define MINUTE          60
#define HOUR_MINUTES    60

K_THREAD_STACK_DEFINE(battery_stack, 2048);
static struct k_thread battery_thread;

static K_MUTEX_DEFINE(lock);
static struct battery_status status = {.soc = -1, .tte_min = -1, .ttf_min = -1};

/* The samples of the last minute, and the sums of the minutes before. */
static int32_t sec_ua[MINUTE];
static int sec_count, sec_pos;
static int64_t min_sum[HOUR_MINUTES - 1];
static int min_count[HOUR_MINUTES - 1];
static int min_pos;
static int64_t cur_sum;
static int cur_count;
static uint64_t drawn_uams; /* µA·ms */

static void add_sample(int ua, uint32_t dt_ms)
{
	sec_ua[sec_pos] = ua;
	sec_pos = (sec_pos + 1) % MINUTE;
	sec_count = MIN(sec_count + 1, MINUTE);

	cur_sum += ua;
	if (++cur_count == MINUTE) {
		min_sum[min_pos] = cur_sum;
		min_count[min_pos] = cur_count;
		min_pos = (min_pos + 1) % ARRAY_SIZE(min_sum);
		cur_sum = 0;
		cur_count = 0;
	}
	if (ua > 0) {
		drawn_uams += (uint64_t)ua * dt_ms;
	}
}

static int avg_minute(void)
{
	int64_t sum = 0;

	for (int i = 0; i < sec_count; i++) {
		sum += sec_ua[i];
	}
	return sec_count ? sum / sec_count : 0;
}

static int avg_hour(void)
{
	int64_t sum = cur_sum;
	int count = cur_count;

	for (size_t i = 0; i < ARRAY_SIZE(min_sum); i++) {
		sum += min_sum[i];
		count += min_count[i];
	}
	return count ? sum / count : 0;
}

static void run(void *p1, void *p2, void *p3)
{
	int64_t last = k_uptime_get();
	uint32_t since_save = 0; /* ms */
	int saved_soc = -1;
	int low_s = 0;

	ARG_UNUSED(p1);
	ARG_UNUSED(p2);
	ARG_UNUSED(p3);

	for (;;) {
		struct battery_sample s;
		struct battery_gauge g;
		int64_t now;
		uint32_t dt;

		k_msleep(SAMPLE_MS);
		if (battery_backend_read(&s) != 0) {
			continue;
		}
		now = k_uptime_get();
		dt = now - last;
		last = now;

		/* The lock also keeps battery_save() away from the fuel gauge. */
		k_mutex_lock(&lock, K_FOREVER);
		battery_backend_gauge(&s, dt, &g);
		add_sample(s.current_ua, dt);
		status.valid = true;
		status.usb = s.usb;
		status.charge = s.charge;
		status.voltage_mv = s.voltage_mv;
		status.current_ua = s.current_ua;
		status.temp_dc = s.temp_dc;
		status.avg_min_ua = avg_minute();
		status.avg_hour_ua = avg_hour();
		status.soc = g.soc;
		status.tte_min = g.tte_min;
		status.ttf_min = g.ttf_min;
		status.drawn_uah = drawn_uams / 3600000;
		status.uptime_s += (dt + 500) / 1000;
		low_s = !s.usb && s.voltage_mv < BATTERY_EMPTY_MV ? low_s + 1 : 0;
		status.empty = low_s >= BATTERY_EMPTY_S;
		since_save += dt;
		/* Changed noticeably (restarts keep it), or the long interval is over. */
		if ((g.soc >= 0 && abs(g.soc - saved_soc) >= SAVE_SOC_STEP &&
		     since_save >= SAVE_MIN_S * 1000U) ||
		    since_save >= SAVE_INTERVAL_S * 1000U) {
			since_save = 0;
			saved_soc = g.soc;
			battery_backend_save();
		}
		k_mutex_unlock(&lock);

		LOG_DBG("%d mV, %d uA, %d%%", s.voltage_mv, s.current_ua, g.soc);
	}
}

void battery_init(void)
{
	if (battery_backend_init() != 0) {
		LOG_ERR("no battery measurement");
		return;
	}
	k_thread_create(&battery_thread, battery_stack, K_THREAD_STACK_SIZEOF(battery_stack), run,
			NULL, NULL, NULL, K_LOWEST_APPLICATION_THREAD_PRIO, 0, K_NO_WAIT);
	k_thread_name_set(&battery_thread, "battery");
}

void battery_get(struct battery_status *out)
{
	k_mutex_lock(&lock, K_FOREVER);
	*out = status;
	k_mutex_unlock(&lock);
}

void battery_save(void)
{
	k_mutex_lock(&lock, K_FOREVER);
	if (status.valid) {
		battery_backend_save();
	}
	k_mutex_unlock(&lock);
}
```

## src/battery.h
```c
/*
 * Battery: voltage, current, charging and the state of charge.
 *
 * On the board the nPM1300 measures voltage, current and temperature and
 * Nordic's fuel gauge library estimates the state of charge and the times to
 * empty and full. The emulator simulates a battery instead. A thread samples
 * once a second and keeps averages of the current.
 */

#pragma once

#include <stdbool.h>
#include <stdint.h>

enum battery_charge {
	BATTERY_DISCHARGING, /* no USB power */
	BATTERY_CHARGING,
	BATTERY_FULL,        /* USB power, charging complete or not needed */
	BATTERY_ERROR,       /* charger reports an error */
};

struct battery_status {
	bool valid; /* false until the first sample, or without a PMIC */
	bool usb;   /* USB power present */
	enum battery_charge charge;
	int voltage_mv;
	int current_ua;  /* latest sample; positive = drawn from the battery */
	int avg_min_ua;  /* average over the last minute */
	int avg_hour_ua; /* average over the last hour (or since the start) */
	int temp_dc;     /* temperature in 0.1 °C (PMIC die, the battery has no NTC) */
	int soc;         /* state of charge in %, -1 = unknown */
	int tte_min;     /* time to empty in minutes, -1 = unknown */
	int ttf_min;     /* time to full in minutes, -1 = unknown */
	uint32_t drawn_uah; /* charge drawn from the battery since the start */
	uint32_t uptime_s;  /* time covered by the samples */
	bool empty; /* below BATTERY_EMPTY_MV for BATTERY_EMPTY_S without USB: switch off */
};

/*
 * Empty: the cell is at 0 % (gauge.c) below this voltage, and the protection
 * circuit would only cut it off at 2.75 V, deep enough to wear it. A while
 * of samples, so that a transmission or the GPS starting does not count.
 */
#define BATTERY_EMPTY_MV 3300
#define BATTERY_EMPTY_S  10

/* Start sampling. Call after settings are available. */
void battery_init(void);
void battery_get(struct battery_status *out);
/* Store the fuel gauge state; call before switching off. */
void battery_save(void);
```

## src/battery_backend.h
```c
/*
 * Measurement and fuel gauge behind battery.c: the nPM1300 on the board
 * (battery_npm13xx.c), a simulated battery in the emulator (emul/).
 */

#pragma once

#include "battery.h"

struct battery_sample {
	int voltage_mv;
	int current_ua; /* positive = drawn from the battery */
	int temp_dc;
	bool usb;
	enum battery_charge charge;
};

struct battery_gauge {
	int soc;     /* %, -1 = unknown */
	int tte_min; /* -1 = unknown */
	int ttf_min; /* -1 = unknown */
};

int battery_backend_init(void);
int battery_backend_read(struct battery_sample *s);
/* Feed a sample taken dt_ms after the previous one into the fuel gauge. */
void battery_backend_gauge(const struct battery_sample *s, uint32_t dt_ms,
			   struct battery_gauge *out);
void battery_backend_save(void);
```

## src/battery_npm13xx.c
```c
/*
 * Battery on the board: the nPM1300 charger measures voltage, current and
 * die temperature; gauge.c turns them into the state of charge, with the
 * assumptions about the cell given there. (nRF Fuel Gauge needs a battery
 * model made by profiling the cell with the nPM1300 EK and nPM PowerUP.)
 *
 * The battery has no thermistor, so the die temperature stands in for the
 * battery temperature.
 */

#include <math.h>

#include <zephyr/device.h>
#include <zephyr/drivers/sensor.h>
#include <zephyr/drivers/sensor/npm13xx_charger.h>
#include <zephyr/kernel.h>
#include <zephyr/logging/log.h>
#include <zephyr/settings/settings.h>

#include "battery_backend.h"
#include "gauge.h"

LOG_MODULE_REGISTER(battery_pmic, CONFIG_CMDZ5_APP_LOG_LEVEL);

#define STATE_KEY "batt/g" /* state of charge, ‰ */

/* CHARGER.BCHGCHARGESTATUS */
#define CHG_STATUS_COMPLETE BIT(1)
#define CHG_STATUS_TRICKLE  BIT(2)
#define CHG_STATUS_CC       BIT(3)
#define CHG_STATUS_CV       BIT(4)
/* VBUSIN.VBUSINSTATUS */
#define VBUS_PRESENT BIT(0)

static const struct device *const charger = DEVICE_DT_GET(DT_NODELABEL(charger));

static struct gauge gauge;

static float to_float(const struct sensor_value *v)
{
	return (float)v->val1 + (float)v->val2 / 1000000.0f;
}

/* Raw readings (V, A, °C). */
static int read(float *v, float *i, float *t, int32_t *chg, int32_t *err, bool *usb)
{
	struct sensor_value val;
	int ret = sensor_sample_fetch(charger);

	if (ret) {
		return ret;
	}
	sensor_channel_get(charger, SENSOR_CHAN_GAUGE_VOLTAGE, &val);
	*v = to_float(&val);
	sensor_channel_get(charger, SENSOR_CHAN_GAUGE_AVG_CURRENT, &val);
	/* Zephyr: negative = discharging; here the opposite. */
	*i = -to_float(&val);
	sensor_channel_get(charger, SENSOR_CHAN_DIE_TEMP, &val);
	*t = to_float(&val);
	sensor_channel_get(charger, (enum sensor_channel)SENSOR_CHAN_NPM13XX_CHARGER_STATUS, &val);
	*chg = val.val1;
	sensor_channel_get(charger, (enum sensor_channel)SENSOR_CHAN_NPM13XX_CHARGER_ERROR, &val);
	*err = val.val1;
	sensor_channel_get(charger, (enum sensor_channel)SENSOR_CHAN_NPM13XX_CHARGER_VBUS_STATUS,
			   &val);
	*usb = val.val1 & VBUS_PRESENT;
	return 0;
}

static struct {
	float v, i, t;
	int32_t chg, err;
	bool usb;
} raw;

static enum gauge_charger charger_state(void)
{
	if (!raw.usb) {
		return GAUGE_DISCHARGING;
	}
	if (raw.chg & CHG_STATUS_COMPLETE) {
		return GAUGE_FULL;
	}
	if (raw.chg & CHG_STATUS_CV) {
		return GAUGE_CHARGE_CV;
	}
	if (raw.chg & (CHG_STATUS_TRICKLE | CHG_STATUS_CC)) {
		return GAUGE_CHARGE_CC;
	}
	return GAUGE_IDLE;
}

int battery_backend_init(void)
{
	struct sensor_value val;
	struct gauge_params params = {
		.capacity_uah = 1100000,
		.r_mohm = 200,
	};
	int32_t saved = -1;
	int ret;

	if (!device_is_ready(charger)) {
		return -ENODEV;
	}
	ret = read(&raw.v, &raw.i, &raw.t, &raw.chg, &raw.err, &raw.usb);
	if (ret) {
		return ret;
	}
	sensor_channel_get(charger, SENSOR_CHAN_GAUGE_DESIRED_CHARGING_CURRENT, &val);
	params.charge_ua = (int32_t)(to_float(&val) * 1000000.0f);
	if (settings_load_one(STATE_KEY, &saved, sizeof(saved)) != sizeof(saved)) {
		saved = -1;
	}
	gauge_init(&gauge, &params, lroundf(raw.v * 1000.0f), lroundf(raw.i * 1000000.0f), saved);
	LOG_INF("fuel gauge: %d %% (%s; %d mV, %d mA)", gauge_soc(&gauge, charger_state()),
		saved >= 0 ? "stored state" : "from the voltage", (int)lroundf(raw.v * 1000.0f),
		(int)lroundf(raw.i * 1000.0f));
	return 0;
}

int battery_backend_read(struct battery_sample *s)
{
	int ret = read(&raw.v, &raw.i, &raw.t, &raw.chg, &raw.err, &raw.usb);

	if (ret) {
		return ret;
	}
	s->voltage_mv = lroundf(raw.v * 1000.0f);
	s->current_ua = lroundf(raw.i * 1000000.0f);
	s->temp_dc = lroundf(raw.t * 10.0f);
	s->usb = raw.usb;
	if (raw.err) {
		s->charge = BATTERY_ERROR;
	} else if (!raw.usb) {
		s->charge = BATTERY_DISCHARGING;
	} else if (raw.chg & (CHG_STATUS_TRICKLE | CHG_STATUS_CC | CHG_STATUS_CV)) {
		s->charge = BATTERY_CHARGING;
	} else {
		s->charge = BATTERY_FULL;
	}
	return 0;
}

void battery_backend_gauge(const struct battery_sample *s, uint32_t dt_ms,
			   struct battery_gauge *out)
{
	enum gauge_charger ch = charger_state();

	gauge_update(&gauge, s->voltage_mv, s->current_ua, ch, dt_ms);
	out->soc = gauge_soc(&gauge, ch);
	out->tte_min = gauge_tte_min(&gauge, ch);
	out->ttf_min = gauge_ttf_min(&gauge, ch);
}

void battery_backend_save(void)
{
	int32_t permille = gauge_permille(&gauge);
	int ret = settings_save_one(STATE_KEY, &permille, sizeof(permille));

	if (ret) {
		LOG_WRN("saving the fuel gauge state failed (%d)", ret);
	}
}
```

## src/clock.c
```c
#include <string.h>

#include <zephyr/kernel.h>
#include <zephyr/logging/log.h>
#include <zephyr/settings/settings.h>

#include "clock.h"

#ifdef CONFIG_CMDZ5_EMUL
#include "../emul/frontpanel.h"
#endif

LOG_MODULE_REGISTER(clock, CONFIG_CMDZ5_APP_LOG_LEVEL);

/* The mesh may correct its own earlier time after this long. */
#define MESH_REFRESH_MS (60 * 60 * 1000)

enum dst_rule {
	DST_NONE,
	DST_EU, /* last Sunday of March 01:00 UTC .. last Sunday of October 01:00 UTC */
	DST_US, /* second Sunday of March 02:00 .. first Sunday of November 02:00 local */
};

static const struct zone {
	const char *name;
	int32_t std_offset; /* s */
	enum dst_rule dst;
} zones[] = {
	{"UTC", 0, DST_NONE},
	{"WET", 0, DST_EU},
	{"CET", 3600, DST_EU},
	{"EET", 2 * 3600, DST_EU},
	{"US East", -5 * 3600, DST_US},
	{"US Central", -6 * 3600, DST_US},
	{"US Mountain", -7 * 3600, DST_US},
	{"US Pacific", -8 * 3600, DST_US},
};

#define ZONE_DEFAULT 2 /* CET */

static int64_t base_unix;   /* UTC seconds at base_uptime */
static int64_t base_uptime; /* ms */
static enum clock_source source;
static uint8_t zone = ZONE_DEFAULT;

static int clock_settings_set(const char *name, size_t len, settings_read_cb read_cb, void *cb_arg)
{
	uint8_t z;

	if (strcmp(name, "zone") != 0 || len != sizeof(z)) {
		return -ENOENT;
	}
	if (read_cb(cb_arg, &z, sizeof(z)) != sizeof(z)) {
		return -EIO;
	}
	if (z < ARRAY_SIZE(zones)) {
		zone = z;
	}
	return 0;
}

SETTINGS_STATIC_HANDLER_DEFINE(clock, "clock", NULL, clock_settings_set, NULL, NULL);

static void set(int64_t unix_utc, enum clock_source src)
{
	base_unix = unix_utc;
	base_uptime = k_uptime_get();
	source = src;
}

bool clock_offer(int64_t unix_utc, enum clock_source src)
{
	bool take;

	if (src == CLOCK_SRC_MESH) {
		take = source == CLOCK_SRC_NONE ||
		       (source == CLOCK_SRC_MESH &&
			k_uptime_get() - base_uptime >= MESH_REFRESH_MS);
	} else {
		take = src >= source;
	}
	if (take) {
		set(unix_utc, src);
	}
	return take;
}

enum clock_source clock_source(void)
{
	return source;
}

bool clock_valid(void)
{
	return source != CLOCK_SRC_NONE;
}

int64_t clock_unix(void)
{
	return base_unix + (k_uptime_get() - base_uptime) / 1000;
}

/* Civil date to days since 1970-01-01 (Howard Hinnant's algorithm). */
static int64_t days_from_civil(int y, int m, int d)
{
	y -= m <= 2;
	int64_t era = (y >= 0 ? y : y - 399) / 400;
	int64_t yoe = y - era * 400;
	int64_t doy = (153 * (m > 2 ? m - 3 : m + 9) + 2) / 5 + d - 1;
	int64_t doe = yoe * 365 + yoe / 4 - yoe / 100 + doy;

	return era * 146097 + doe - 719468;
}

/* Days since 1970-01-01 to civil date (Howard Hinnant's algorithm). */
void clock_from_unix(int64_t t, struct clock_tm *tm)
{
	int64_t days = t >= 0 ? t / 86400 : (t - 86399) / 86400;
	int64_t secs = t - days * 86400;

	tm->hour = secs / 3600;
	tm->min = secs / 60 % 60;
	tm->sec = secs % 60;
	tm->wday = (int)((days % 7 + 11) % 7); /* 1970-01-01 was a Thursday */

	int64_t z = days + 719468;
	int64_t era = (z >= 0 ? z : z - 146096) / 146097;
	int64_t doe = z - era * 146097;
	int64_t yoe = (doe - doe / 1460 + doe / 36524 - doe / 146096) / 365;
	int64_t doy = doe - (365 * yoe + yoe / 4 - yoe / 100);
	int64_t mp = (5 * doy + 2) / 153;

	tm->day = (int)(doy - (153 * mp + 2) / 5 + 1);
	tm->month = (int)(mp < 10 ? mp + 3 : mp - 9);
	tm->year = (int)(yoe + era * 400 + (tm->month <= 2));
}

/* Day (days since 1970) of the n-th Sunday of a month; n = -1: the last. */
static int64_t sunday(int year, int month, int n)
{
	if (n > 0) {
		int64_t first = days_from_civil(year, month, 1);
		int wday = (int)((first % 7 + 11) % 7);

		return first + (7 - wday) % 7 + 7 * (n - 1);
	}
	int64_t last = days_from_civil(month == 12 ? year + 1 : year, month % 12 + 1, 1) - 1;
	int wday = (int)((last % 7 + 11) % 7);

	return last - wday;
}

/* Offset from UTC at t (UTC), with daylight saving time. */
static int32_t offset_at(int64_t t)
{
	const struct zone *z = &zones[zone];
	struct clock_tm tm;
	int64_t start, end;

	if (z->dst == DST_NONE) {
		return z->std_offset;
	}
	clock_from_unix(t, &tm);
	if (z->dst == DST_EU) {
		start = sunday(tm.year, 3, -1) * 86400 + 3600;
		end = sunday(tm.year, 10, -1) * 86400 + 3600;
	} else {
		/* 02:00 local standard time, and 02:00 local daylight time. */
		start = sunday(tm.year, 3, 2) * 86400 + 2 * 3600 - z->std_offset;
		end = sunday(tm.year, 11, 1) * 86400 + 2 * 3600 - (z->std_offset + 3600);
	}
	return z->std_offset + (t >= start && t < end ? 3600 : 0);
}

void clock_local(int64_t t, struct clock_tm *tm)
{
	clock_from_unix(t + offset_at(t), tm);
}

bool clock_now(struct clock_tm *tm)
{
	if (!clock_valid()) {
		return false;
	}
	clock_local(clock_unix(), tm);
	return true;
}

int clock_zone_count(void)
{
	return ARRAY_SIZE(zones);
}

int clock_zone(void)
{
	return zone;
}

void clock_set_zone(int z)
{
	if (z < 0 || z >= (int)ARRAY_SIZE(zones)) {
		return;
	}
	zone = z;
#ifdef CONFIG_SETTINGS
	uint8_t v = zone;
	int ret = settings_save_one("clock/zone", &v, sizeof(v));

	if (ret) {
		LOG_ERR("saving the time zone failed (%d)", ret);
	}
#endif
}

const char *clock_zone_name(int z)
{
	return z >= 0 && z < (int)ARRAY_SIZE(zones) ? zones[z].name : "?";
}

void clock_init(void)
{
#ifdef CONFIG_CMDZ5_EMUL
	if (frontpanel_clock_known()) {
		set(frontpanel_unix_time(), CLOCK_SRC_PC);
	}
#endif
}
```

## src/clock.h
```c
/*
 * Wall-clock time. Unknown after boot on the board until it is set from GPS
 * or the mesh; the emulator takes the PC's time. Kept in UTC; local time
 * follows the time zone setting, with daylight saving time.
 */

#pragma once

#include <stdbool.h>
#include <stdint.h>

struct clock_tm {
	int year;  /* e.g. 2026 */
	int month; /* 1..12 */
	int day;   /* 1..31 */
	int hour, min, sec;
	int wday;  /* 0 = Sunday */
};

/* Where the time came from, in increasing quality. */
enum clock_source {
	CLOCK_SRC_NONE,
	CLOCK_SRC_MESH, /* time field of a received Meshtastic packet */
	CLOCK_SRC_GPS,
	CLOCK_SRC_PC,   /* emulator */
};

void clock_init(void);
/*
 * Offer a time from a source. GPS (and the PC) always set it; the mesh only
 * when there is no better time yet, or its own last time is an hour old.
 * Returns true if the clock was set.
 */
bool clock_offer(int64_t unix_utc, enum clock_source src);
enum clock_source clock_source(void);
bool clock_valid(void);
int64_t clock_unix(void);
/* Local time; returns false if the clock was never set. */
bool clock_now(struct clock_tm *tm);
void clock_from_unix(int64_t t, struct clock_tm *tm);
/* Local time of a unix timestamp (time zone and daylight saving time at t). */
void clock_local(int64_t t, struct clock_tm *tm);

/* Time zones (Settings -> Time zone). */
int clock_zone_count(void);
int clock_zone(void);
/* Select and store. */
void clock_set_zone(int zone);
/* Short name, untranslated (e.g. "CET"). */
const char *clock_zone_name(int zone);
```
